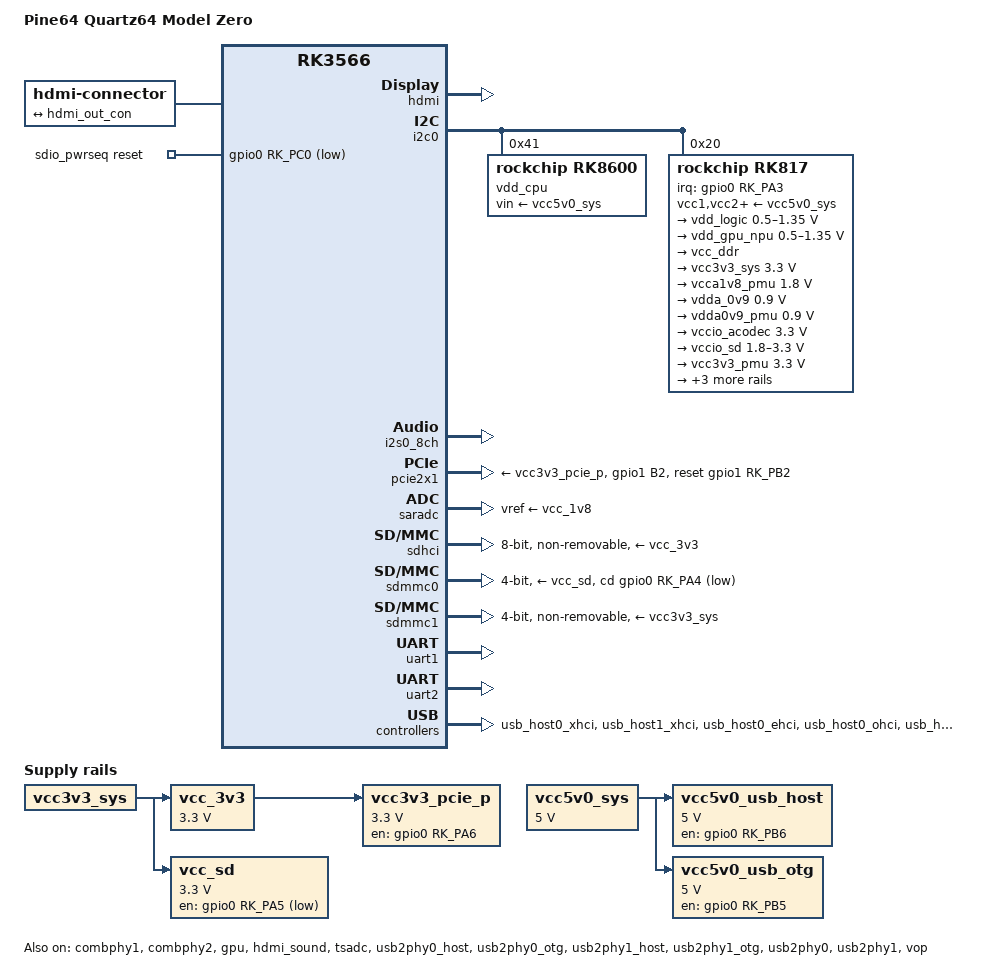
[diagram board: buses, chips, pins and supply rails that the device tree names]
// SPDX-License-Identifier: (GPL-2.0+ OR MIT)
/*
 * Pine64 Quartz64 Model Zero (RK3566T, 1GB LPDDR4, RK817 PMIC, AIC8800DC).
 *
 * Unofficial, experimental. Derived from rk3566-quartz64-b.dts and checked
 * against:
 *  - the device tree in Pine64's Android 13 SD image
 *    (Quartz64-Zero_Android13_sd_boot_20240614_v1.0, a modified Rockchip
 *    "rk3566-evb2-lp4x-v10" tree), for regulator mapping and GPIO numbers;
 *  - Pine64's schematic Quartz64-ZERO_Schematic_v01_20240428.pdf.
 *
 * Differences from Model B: RK817 instead of RK809 (different regulator
 * layout), RK8600 CPU regulator at 0x41 instead of 0x1c (the Android tree
 * calls it a TCS4525, but it reports chip ID 8), VCCIO4-7 all at
 * 3.3V, USB VBUS switches on GPIO0_B5/B6, switched SD power on GPIO0_A5,
 * no Ethernet, no user LED, no analog audio wiring here.
 */

/dts-v1/;

#include <dt-bindings/gpio/gpio.h>
#include <dt-bindings/pinctrl/rockchip.h>
#include <dt-bindings/soc/rockchip,vop2.h>
/*
 * RK3566T (Pine64 and CNX specs: "RK3566T ... up to 1.6 GHz"), not RK3566:
 * rk3566t.dtsi caps the CPU at 1.416 GHz and the GPU at 700 MHz, as on the
 * ROCK 3C. The plain rk3566.dtsi would run it up to 1.8 GHz, out of spec.
 */
#include "rk3566t.dtsi"

/ {
	model = "Pine64 Quartz64 Model Zero";
	compatible = "pine64,quartz64-zero", "rockchip,rk3566";

	aliases {
		mmc0 = &sdmmc0;
		mmc1 = &sdhci;
		mmc2 = &sdmmc1;
	};

	chosen: chosen {
		stdout-path = "serial2:1500000n8";
	};

	hdmi-con {
		compatible = "hdmi-connector";
		type = "a";

		port {
			hdmi_con_in: endpoint {
				remote-endpoint = <&hdmi_out_con>;
			};
		};
	};

	/* Wi-Fi enable: Android's WIFI,poweren_gpio (GPIO0_C0), same pin as the ROCK 3C */
	sdio_pwrseq: sdio-pwrseq {
		compatible = "mmc-pwrseq-simple";
		clocks = <&rk817 1>;
		clock-names = "ext_clock";
		pinctrl-names = "default";
		pinctrl-0 = <&wifi_enable_h>;
		reset-gpios = <&gpio0 RK_PC0 GPIO_ACTIVE_LOW>;
		post-power-on-delay-ms = <200>;
		power-off-delay-us = <5000000>;
	};

	/* 5V barrel jack (schematic p.16: VCC5V0_SYS, "default 5.2V") */
	vcc5v0_sys: regulator-vcc5v0-sys {
		compatible = "regulator-fixed";
		regulator-name = "vcc5v0_sys";
		regulator-always-on;
		regulator-boot-on;
		regulator-min-microvolt = <5000000>;
		regulator-max-microvolt = <5000000>;
	};

	/* Load switch VCC3V3_SYS -> VCC_3V3 (schematic power table, no GPIO) */
	vcc_3v3: regulator-vcc-3v3 {
		compatible = "regulator-fixed";
		regulator-name = "vcc_3v3";
		regulator-always-on;
		regulator-boot-on;
		regulator-min-microvolt = <3300000>;
		regulator-max-microvolt = <3300000>;
		vin-supply = <&vcc3v3_sys>;
	};

	/* microSD power switch: Android's vcc-sd, GPIO0_A5 active low */
	vcc_sd: regulator-vcc-sd {
		compatible = "regulator-fixed";
		regulator-name = "vcc_sd";
		gpio = <&gpio0 RK_PA5 GPIO_ACTIVE_LOW>;
		pinctrl-names = "default";
		pinctrl-0 = <&vcc_sd_h>;
		regulator-boot-on;
		regulator-min-microvolt = <3300000>;
		regulator-max-microvolt = <3300000>;
		vin-supply = <&vcc3v3_sys>;
	};

	/* PCIe FPC connector power: Android's vcc3v3-pcie, GPIO0_A6 (as Model B) */
	vcc3v3_pcie_p: regulator-vcc3v3-pcie-p {
		compatible = "regulator-fixed";
		enable-active-high;
		gpio = <&gpio0 RK_PA6 GPIO_ACTIVE_HIGH>;
		pinctrl-names = "default";
		pinctrl-0 = <&pcie_enable_h>;
		regulator-name = "vcc3v3_pcie_p";
		regulator-min-microvolt = <3300000>;
		regulator-max-microvolt = <3300000>;
		vin-supply = <&vcc_3v3>;
	};

	/*
	 * USB VBUS switches (schematic p.27): USB_HOST_PWREN_H feeds the USB 3.0
	 * port and the (unpopulated) HOST2 port, USB_OTG_PWREN_H the
	 * (unpopulated) OTG port. Android: vcc5v0-usb2 = GPIO0_B6,
	 * vcc5v0-usb1 = GPIO0_B5, both always on.
	 */
	vcc5v0_usb_host: regulator-vcc5v0-usb-host {
		compatible = "regulator-fixed";
		regulator-name = "vcc5v0_usb_host";
		enable-active-high;
		gpio = <&gpio0 RK_PB6 GPIO_ACTIVE_HIGH>;
		pinctrl-names = "default";
		pinctrl-0 = <&vcc5v0_usb_host_en_h>;
		regulator-always-on;
		regulator-boot-on;
		regulator-min-microvolt = <5000000>;
		regulator-max-microvolt = <5000000>;
		vin-supply = <&vcc5v0_sys>;
	};

	vcc5v0_usb_otg: regulator-vcc5v0-usb-otg {
		compatible = "regulator-fixed";
		regulator-name = "vcc5v0_usb_otg";
		enable-active-high;
		gpio = <&gpio0 RK_PB5 GPIO_ACTIVE_HIGH>;
		pinctrl-names = "default";
		pinctrl-0 = <&vcc5v0_usb_otg_en_h>;
		regulator-always-on;
		regulator-boot-on;
		regulator-min-microvolt = <5000000>;
		regulator-max-microvolt = <5000000>;
		vin-supply = <&vcc5v0_sys>;
	};
};

&combphy1 {
	status = "okay";
};

&combphy2 {
	status = "okay";
};

&cpu0 {
	cpu-supply = <&vdd_cpu>;
};

&cpu1 {
	cpu-supply = <&vdd_cpu>;
};

&cpu2 {
	cpu-supply = <&vdd_cpu>;
};

&cpu3 {
	cpu-supply = <&vdd_cpu>;
};

&gpu {
	mali-supply = <&vdd_gpu_npu>;
	status = "okay";
};

&hdmi {
	avdd-0v9-supply = <&vdda_0v9>;
	avdd-1v8-supply = <&vcc_1v8>;
	status = "okay";
};

&hdmi_in {
	hdmi_in_vp0: endpoint {
		remote-endpoint = <&vp0_out_hdmi>;
	};
};

&hdmi_out {
	hdmi_out_con: endpoint {
		remote-endpoint = <&hdmi_con_in>;
	};
};

&hdmi_sound {
	status = "okay";
};

&i2c0 {
	status = "okay";

	/*
	 * Android calls this tcs4525@41 (Model B has a TCS4525 at 0x1c), but the
	 * chip reports ID 8 = Rockchip RK8600/RK8601: mainline's fan53555 driver
	 * rejects it as a TCS4525 ("Chip ID 8 not supported"). Found on the
	 * first boot, 2026-10-07.
	 */
	vdd_cpu: regulator@41 {
		compatible = "rockchip,rk8600";
		reg = <0x41>;
		fcs,suspend-voltage-selector = <1>;
		regulator-name = "vdd_cpu";
		regulator-min-microvolt = <712500>;
		regulator-max-microvolt = <1390000>;
		regulator-ramp-delay = <2300>;
		regulator-always-on;
		regulator-boot-on;
		vin-supply = <&vcc5v0_sys>;

		regulator-state-mem {
			regulator-off-in-suspend;
		};
	};

	/*
	 * RK817 (schematic p.23). Output mapping and suspend states as in the
	 * Android tree, which matches the schematic's power table exactly.
	 * BOOST/OTG_SWITCH are left undescribed: no battery on this board.
	 */
	rk817: pmic@20 {
		compatible = "rockchip,rk817";
		reg = <0x20>;
		interrupt-parent = <&gpio0>;
		interrupts = <RK_PA3 IRQ_TYPE_LEVEL_LOW>;
		clock-output-names = "rk808-clkout1", "rk808-clkout2";
		#clock-cells = <1>;
		pinctrl-names = "default";
		/*
		 * pmic_sleep matters here: GPIO0_A2 (PMIC_SLEEP_H) also drives the
		 * RK8600's VSEL pin (schematic p.16). Left floating, the RK8600
		 * could switch to VSEL1 (1.0V default, never updated by Linux)
		 * while the CPU runs at 1.8GHz -> resets after warm reboots.
		 * Function 1 = the PMU's sleep output, low while running (as on
		 * the PineNote).
		 */
		pinctrl-0 = <&pmic_int>, <&pmic_sleep>;
		system-power-controller;
		wakeup-source;

		vcc1-supply = <&vcc5v0_sys>;
		vcc2-supply = <&vcc5v0_sys>;
		vcc3-supply = <&vcc5v0_sys>;
		vcc4-supply = <&vcc5v0_sys>;
		vcc5-supply = <&vcc5v0_sys>;
		vcc6-supply = <&vcc5v0_sys>;
		vcc7-supply = <&vcc5v0_sys>;
		vcc8-supply = <&vcc5v0_sys>;

		regulators {
			vdd_logic: DCDC_REG1 {
				regulator-name = "vdd_logic";
				regulator-always-on;
				regulator-boot-on;
				regulator-min-microvolt = <500000>;
				regulator-max-microvolt = <1350000>;
				regulator-ramp-delay = <6001>;
				regulator-initial-mode = <0x2>;

				regulator-state-mem {
					regulator-off-in-suspend;
					regulator-suspend-microvolt = <900000>;
				};
			};

			vdd_gpu_npu: DCDC_REG2 {
				regulator-name = "vdd_gpu_npu";
				regulator-always-on;
				regulator-boot-on;
				regulator-min-microvolt = <500000>;
				regulator-max-microvolt = <1350000>;
				regulator-ramp-delay = <6001>;
				regulator-initial-mode = <0x2>;

				regulator-state-mem {
					regulator-off-in-suspend;
				};
			};

			vcc_ddr: DCDC_REG3 {
				regulator-name = "vcc_ddr";
				regulator-always-on;
				regulator-boot-on;
				regulator-initial-mode = <0x2>;

				regulator-state-mem {
					regulator-on-in-suspend;
				};
			};

			/* VCC3V3_SYS: feeds VCCIO4-7, Wi-Fi, microSD, VCC_3V3 */
			vcc3v3_sys: DCDC_REG4 {
				regulator-name = "vcc3v3_sys";
				regulator-always-on;
				regulator-boot-on;
				regulator-min-microvolt = <3300000>;
				regulator-max-microvolt = <3300000>;
				regulator-initial-mode = <0x2>;

				regulator-state-mem {
					regulator-on-in-suspend;
					regulator-suspend-microvolt = <3300000>;
				};
			};

			vcca1v8_pmu: LDO_REG1 {
				regulator-name = "vcca1v8_pmu";
				regulator-always-on;
				regulator-boot-on;
				regulator-min-microvolt = <1800000>;
				regulator-max-microvolt = <1800000>;

				regulator-state-mem {
					regulator-on-in-suspend;
					regulator-suspend-microvolt = <1800000>;
				};
			};

			vdda_0v9: LDO_REG2 {
				regulator-name = "vdda_0v9";
				regulator-always-on;
				regulator-boot-on;
				regulator-min-microvolt = <900000>;
				regulator-max-microvolt = <900000>;

				regulator-state-mem {
					regulator-off-in-suspend;
				};
			};

			vdda0v9_pmu: LDO_REG3 {
				regulator-name = "vdda0v9_pmu";
				regulator-always-on;
				regulator-boot-on;
				regulator-min-microvolt = <900000>;
				regulator-max-microvolt = <900000>;

				regulator-state-mem {
					regulator-on-in-suspend;
					regulator-suspend-microvolt = <900000>;
				};
			};

			vccio_acodec: LDO_REG4 {
				regulator-name = "vccio_acodec";
				regulator-always-on;
				regulator-boot-on;
				regulator-min-microvolt = <3300000>;
				regulator-max-microvolt = <3300000>;

				regulator-state-mem {
					regulator-off-in-suspend;
				};
			};

			vccio_sd: LDO_REG5 {
				regulator-name = "vccio_sd";
				regulator-always-on;
				regulator-boot-on;
				regulator-min-microvolt = <1800000>;
				regulator-max-microvolt = <3300000>;

				regulator-state-mem {
					regulator-off-in-suspend;
				};
			};

			vcc3v3_pmu: LDO_REG6 {
				regulator-name = "vcc3v3_pmu";
				regulator-always-on;
				regulator-boot-on;
				regulator-min-microvolt = <3300000>;
				regulator-max-microvolt = <3300000>;

				regulator-state-mem {
					regulator-on-in-suspend;
					regulator-suspend-microvolt = <3300000>;
				};
			};

			vcc_1v8: LDO_REG7 {
				regulator-name = "vcc_1v8";
				regulator-always-on;
				regulator-boot-on;
				regulator-min-microvolt = <1800000>;
				regulator-max-microvolt = <1800000>;

				regulator-state-mem {
					regulator-off-in-suspend;
				};
			};

			vcc1v8_dvp: LDO_REG8 {
				regulator-name = "vcc1v8_dvp";
				regulator-always-on;
				regulator-boot-on;
				regulator-min-microvolt = <1800000>;
				regulator-max-microvolt = <1800000>;

				regulator-state-mem {
					regulator-on-in-suspend;
					regulator-suspend-microvolt = <1800000>;
				};
			};

			vcc2v8_dvp: LDO_REG9 {
				regulator-name = "vcc2v8_dvp";
				regulator-always-on;
				regulator-boot-on;
				regulator-min-microvolt = <2800000>;
				regulator-max-microvolt = <2800000>;

				regulator-state-mem {
					regulator-off-in-suspend;
				};
			};
		};
	};
};

&i2s0_8ch {
	status = "okay";
};

&pcie2x1 {
	pinctrl-names = "default";
	pinctrl-0 = <&pcie_reset_h>;
	reset-gpios = <&gpio1 RK_PB2 GPIO_ACTIVE_HIGH>;
	vpcie3v3-supply = <&vcc3v3_pcie_p>;
	status = "okay";
};

&pinctrl {
	pcie {
		pcie_enable_h: pcie-enable-h {
			rockchip,pins = <0 RK_PA6 RK_FUNC_GPIO &pcfg_pull_none>;
		};

		pcie_reset_h: pcie-reset-h {
			rockchip,pins = <1 RK_PB2 RK_FUNC_GPIO &pcfg_pull_none>;
		};
	};

	pmic {
		pmic_int: pmic_int {
			rockchip,pins =
				<0 RK_PA3 RK_FUNC_GPIO &pcfg_pull_up>;
		};

		pmic_sleep: pmic-sleep {
			rockchip,pins = <0 RK_PA2 1 &pcfg_pull_none>;
		};
	};

	sd {
		vcc_sd_h: vcc-sd-h {
			rockchip,pins = <0 RK_PA5 RK_FUNC_GPIO &pcfg_pull_none>;
		};
	};

	sdio-pwrseq {
		wifi_enable_h: wifi-enable-h {
			rockchip,pins = <0 RK_PC0 RK_FUNC_GPIO &pcfg_pull_none>;
		};
	};

	usb {
		vcc5v0_usb_host_en_h: vcc5v0-usb-host-en-h {
			rockchip,pins = <0 RK_PB6 RK_FUNC_GPIO &pcfg_pull_none>;
		};

		vcc5v0_usb_otg_en_h: vcc5v0-usb-otg-en-h {
			rockchip,pins = <0 RK_PB5 RK_FUNC_GPIO &pcfg_pull_none>;
		};
	};
};

/* Android io-domains; VCCIO4-7 all on VCC3V3_SYS per schematic pp.11-14 */
&pmu_io_domains {
	status = "okay";
	pmuio1-supply = <&vcc3v3_pmu>;
	pmuio2-supply = <&vcca1v8_pmu>;
	vccio1-supply = <&vccio_acodec>;
	vccio2-supply = <&vcc_1v8>;
	vccio3-supply = <&vccio_sd>;
	vccio4-supply = <&vcc3v3_sys>;
	vccio5-supply = <&vcc3v3_sys>;
	vccio6-supply = <&vcc3v3_sys>;
	vccio7-supply = <&vcc3v3_sys>;
};

&saradc {
	vref-supply = <&vcc_1v8>;
	status = "okay";
};

/* Optional eMMC module socket (VCCIO2 strapped to 1.8V, schematic p.22) */
&sdhci {
	bus-width = <8>;
	mmc-hs200-1_8v;
	non-removable;
	vmmc-supply = <&vcc_3v3>;
	vqmmc-supply = <&vcc_1v8>;
	status = "okay";
};

&sdmmc0 {
	bus-width = <4>;
	cap-sd-highspeed;
	cd-gpios = <&gpio0 RK_PA4 GPIO_ACTIVE_LOW>;
	disable-wp;
	pinctrl-names = "default";
	pinctrl-0 = <&sdmmc0_bus4 &sdmmc0_clk &sdmmc0_cmd &sdmmc0_det>;
	sd-uhs-sdr50;
	vmmc-supply = <&vcc_sd>;
	vqmmc-supply = <&vccio_sd>;
	status = "okay";
};

/* AIC8800DC Wi-Fi on SDIO; I/O at 3.3V (VCCIO4), unlike the ROCK 3C */
&sdmmc1 {
	bus-width = <4>;
	cap-sd-highspeed;
	cap-sdio-irq;
	keep-power-in-suspend;
	mmc-pwrseq = <&sdio_pwrseq>;
	non-removable;
	pinctrl-names = "default";
	pinctrl-0 = <&sdmmc1_bus4 &sdmmc1_cmd &sdmmc1_clk>;
	vmmc-supply = <&vcc3v3_sys>;
	vqmmc-supply = <&vcc3v3_sys>;
	status = "okay";
};

/*
 * No SPI flash: the Model Zero only has a footprint for it (the 8MB
 * 25Q64DWZPIG is "Model B only" per Pine64), and its FSPI pins are shared
 * with the eMMC (schematic: eMMC_RSTn/FSPI_D2). &sfc stays disabled -- an
 * enabled one read "unrecognized JEDEC id bytes: ff ff ff ...".
 */

&tsadc {
	rockchip,hw-tshut-mode = <1>;
	rockchip,hw-tshut-polarity = <0>;
	status = "okay";
};

/*
 * AIC8800DC Bluetooth (UART1_M0 with RTS/CTS). No mainline driver: it needs
 * the vendor's userspace bring-up, so no child node here.
 */
&uart1 {
	dma-names = "tx", "rx";
	pinctrl-names = "default";
	pinctrl-0 = <&uart1m0_xfer &uart1m0_ctsn &uart1m0_rtsn>;
	uart-has-rtscts;
	status = "okay";
};

/* Debug UART (4-pin header) */
&uart2 {
	status = "okay";
};

&usb2phy0_host {
	phy-supply = <&vcc5v0_usb_host>;
	status = "okay";
};

&usb2phy0_otg {
	phy-supply = <&vcc5v0_usb_otg>;
	status = "okay";
};

&usb2phy1_host {
	phy-supply = <&vcc5v0_usb_host>;
	status = "okay";
};

&usb2phy1_otg {
	phy-supply = <&vcc5v0_usb_host>;
	status = "okay";
};

&usb2phy0 {
	status = "okay";
};

&usb2phy1 {
	status = "okay";
};

&usb_host0_xhci {
	status = "okay";
};

&usb_host1_xhci {
	status = "okay";
};

&usb_host0_ehci {
	status = "okay";
};

&usb_host0_ohci {
	status = "okay";
};

&usb_host1_ehci {
	status = "okay";
};

&usb_host1_ohci {
	status = "okay";
};

&vop {
	assigned-clocks = <&cru DCLK_VOP0>, <&cru DCLK_VOP1>;
	assigned-clock-parents = <&pmucru PLL_HPLL>, <&cru PLL_VPLL>;
	status = "okay";
};

&vop_mmu {
	status = "okay";
};

&vp0 {
	vp0_out_hdmi: endpoint@ROCKCHIP_VOP2_EP_HDMI0 {
		reg = <ROCKCHIP_VOP2_EP_HDMI0>;
		remote-endpoint = <&hdmi_in_vp0>;
	};
};
